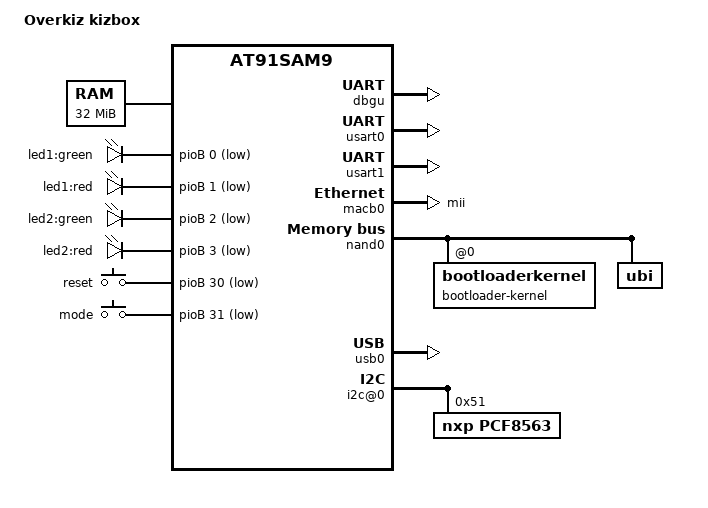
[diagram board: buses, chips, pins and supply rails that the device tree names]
/*
 * kizbox.dts - Device Tree file for Overkiz Kizbox board
 *
 * Copyright (C) 2012 Boris BREZILLON <linux-arm@overkiz.com>
 *
 * Licensed under GPLv2.
 */
/dts-v1/;
#include "at91sam9g20.dtsi"

/ {

	model = "Overkiz kizbox";
	compatible = "overkiz,kizbox", "atmel,at91sam9g20", "atmel,at91sam9";

	chosen {
		bootargs = "panic=5 ubi.mtd=1 rootfstype=ubifs root=ubi0:root";
	};

	memory {
		reg = <0x20000000 0x2000000>;
	};

	clocks {
		#address-cells = <1>;
		#size-cells = <1>;
		ranges;

		main_clock: clock@0 {
			compatible = "atmel,osc", "fixed-clock";
			clock-frequency = <18432000>;
		};
	};

	ahb {
		apb {
			dbgu: serial@fffff200 {
				status = "okay";
			};

			usart0: serial@fffb0000 {
				status = "okay";
			};

			usart1: serial@fffb4000 {
				status = "okay";
			};

			macb0: ethernet@fffc4000 {
				phy-mode = "mii";
				pinctrl-0 = <&pinctrl_macb_rmii
				             &pinctrl_macb_rmii_mii_alt>;
				status = "okay";
			};

		};

		nand0: nand@40000000 {
			nand-bus-width = <8>;
			nand-ecc-mode = "soft";
			status = "okay";

			bootloaderkernel@0 {
				label = "bootloader-kernel";
				reg = <0x0 0xc0000>;
			};

			ubi@c0000 {
				label = "ubi";
				reg = <0xc0000 0x7f40000>;
			};

		};

		usb0: ohci@00500000 {
			num-ports = <1>;
			status = "okay";
		};
	};

	i2c@0 {
		status = "okay";

		pcf8563@51 {
			/* nxp pcf8563 rtc */
			compatible = "nxp,pcf8563";
			reg = <0x51>;
		};

	};

	leds {
		compatible = "gpio-leds";

		led1g {
			label = "led1:green";
			gpios = <&pioB 0 1>;
			linux,default-trigger = "none";
		};

		led1r {
			label = "led1:red";
			gpios = <&pioB 1 1>;
			linux,default-trigger = "none";
		};

		led2g {
			label = "led2:green";
			gpios = <&pioB 2 1>;
			linux,default-trigger = "none";
			default-state = "on";
		};

		led2r {
			label = "led2:red";
			gpios = <&pioB 3 1>;
			linux,default-trigger = "none";
		};
	};

	gpio_keys {
		compatible = "gpio-keys";
		#address-cells = <1>;
		#size-cells = <0>;

		reset {
			label = "reset";
			gpios = <&pioB 30 1>;
			linux,code = <0x100>;
			gpio-key,wakeup;
		};

		mode {
			label = "mode";
			gpios = <&pioB 31 1>;
			linux,code = <0x101>;
			gpio-key,wakeup;
		};
	};
};
